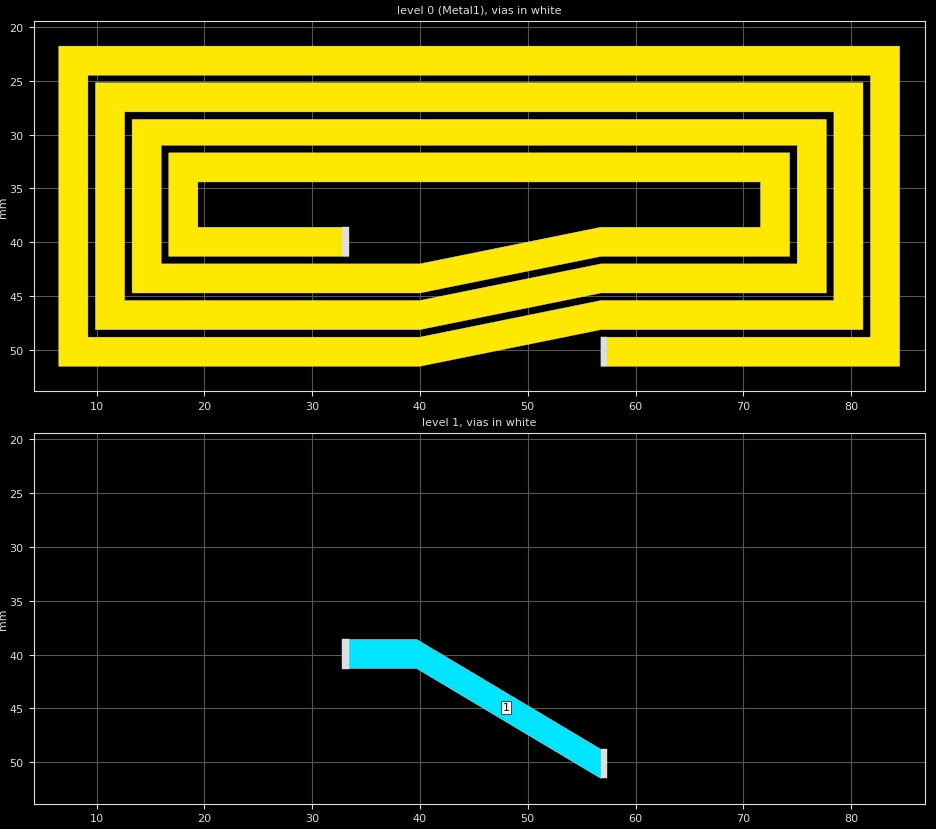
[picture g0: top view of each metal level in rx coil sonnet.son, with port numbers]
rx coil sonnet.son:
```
FTYP SONPROJ 18 ! Sonnet Project File
VER 17.56
HEADER
LIC Sonn.1.12345 5ebde752e8e3 LAPTOP-O1OQGKBH User FullLicense
DAT 03/03/2024 17:21:06
BUILT_BY_CREATED xgeom 17.56 03/03/2024 11:44:43
BUILT_BY_SAVED sonnet 17.56
MDATE 03/03/2024 17:21:06
HDATE 03/03/2024 17:21:06
END HEADER
DIM
ANG DEG
CAP PF
CON /OH
FREQ MHZ
IND NH
LNG MM
RES OH
END DIM
CONTROL
VARSWP
OPTIONS  -d
SPEED 0
CACHE_ABS 1
Q_ACC N
END CONTROL
GEO
TMET "Lossless" 0 SUP 0 0 0 0
BMET "Lossless" 0 SUP 0 0 0 0
BOX 2 100 100 2000 2000 20 0
      7.62 1 1 0 0 0 0 "Air"
      2.5 4.4 1 0.02 0 0 0 "FR4"
      7.62 1 1 0 0 0 0 "Substrate"
TECHLAY METAL Metal1 <UNSPECIFIED> -2 0 
0 0 -1 N 113 1 1 100 100 0 0 0 Y
END
END
LORGN 0 6.35 U 
POR1 GAP
POLY 188 1
2
1 50 0 0 0 48 44.90087719 
NUM 5
0 50 -1 N 171 1 1 100 100 0 0 0 Y
TLAYNAM Metal1 INH
84.5 21.8
6.5 21.8
6.5 51.5
40 51.5
56.8 48.1
81.1 48.1
81.1 25.2
9.9 25.2
9.9 48.1
40 48.1
56.8 44.7
77.7 44.7
77.7 28.6
13.3 28.6
13.3 44.7
40 44.7
56.8 41.3
74.3 41.3
74.3 31.7
16.7 31.7
16.7 41.3
33.4 41.3
33.4 38.6
19.4 38.6
19.4 34.4
71.6 34.4
71.6 38.6
56.8 38.6
56.8 38.6
40 42
16 42
16 31
75 31
75 42
56.8 42
40 45.4
12.6 45.4
12.6 27.9
78.4 27.9
78.4 45.4
56.8 45.4
40 48.8
9.2 48.8
9.2 24.5
81.8 24.5
81.8 48.8
56.8 48.8
56.8 51.5
84.5 51.5
84.5 21.8
END
VIA POLYGON
0 5 -1 N 95 1 1 100 100 0 0 0 Y
TOLEVEL 1 RING NOCOVERS
32.8 38.6
33.4 38.6
33.4 41.3
32.8 41.3
32.8 38.6
END
VIA POLYGON
0 5 -1 N 96 1 1 100 100 0 0 0 Y
TOLEVEL 1 RING NOCOVERS
56.8 48.8
57.4 48.8
57.4 51.5
56.8 51.5
56.8 48.8
END
1 9 -1 N 187 1 1 100 100 0 0 0 Y
48 43.55087719
48 43.55087719
48 43.55087719
39.7 38.6
33.4 38.6
33.4 41.3
39.7 41.3
48 46.25087719
48 43.55087719
END
1 6 -1 N 188 1 1 100 100 0 0 0 Y
56.8 48.8
52.52647059 46.25087719
48 43.55087719
48 46.25087719
56.8 51.5
56.8 48.8
END
END GEO
OPT
MAX 100
END OPT
VARSWP
ENABLED Y
FREQ Y AN STEP 13.56
END
END VARSWP
FILEOUT
TOUCH D Y $BASENAME.s1p IC 15 S RI R 50.00000
FOLDER .
END FILEOUT
```
